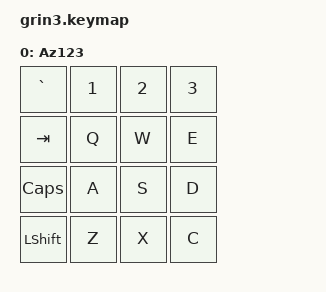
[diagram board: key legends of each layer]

#include <behaviors.dtsi>
#include <dt-bindings/zmk/keys.h>
#include <behaviors/rgbled_widget.dtsi>

&mt {
   flavor = "tap-preferred";
   quick_tap_ms = <125>;
   tapping_term_ms = <250>;
};
 
/ {
    behaviors {
    };
 
   keymap {
       compatible = "zmk,keymap";
       default_layer {
           label = "Az123";
           bindings = <
&kp GRAVE &kp N1    &kp N2     &kp N3
&kp TAB   &kp Q     &kp W      &kp E
&kp CAPS  &kp A     &kp S      &kp D
&kp LSHFT &kp Z     &kp X      &kp C
>;
       };
   };
};

/ {
    aliases {
        led-red = &led0;
        led-green = &led1;
        led-blue = &led2;
    };

    leds {
        compatible = "gpio-leds";
        status = "okay";
        led0: led_0 {
            gpios = <&gpio0 26 GPIO_ACTIVE_LOW>;  // red LED, connected to P0.26
        };
        led1: led_1 {
            gpios = <&gpio0 30 GPIO_ACTIVE_LOW>;  // green LED, connected to P0.30
        };
        led2: led_2 {
            gpios = <&gpio0 6 GPIO_ACTIVE_LOW>;  // blue LED, connected to P0.06
        };
    };
};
